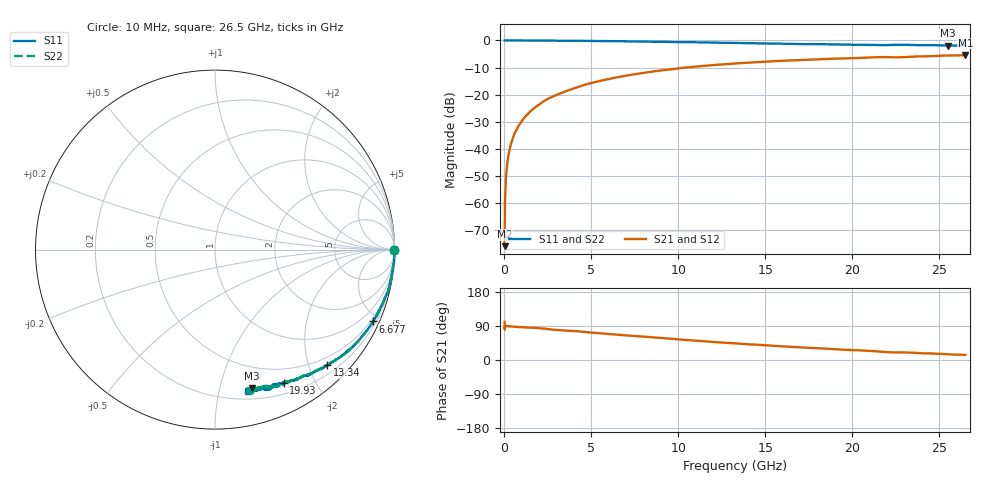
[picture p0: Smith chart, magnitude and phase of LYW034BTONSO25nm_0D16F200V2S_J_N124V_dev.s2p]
!Keysight Technologies,N5222B,MY61253708,A.15.00.15
!Date: Wednesday, June 19, 2024 09:53:12
!Correction: S11(C  2-Port  )
!S21(C  2-Port  )
!S12(C  2-Port  )
!S22(C  2-Port  )
!S2P File: Measurements: S11, S21, S12, S22:
# Hz S  RI  R 50
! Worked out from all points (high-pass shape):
!   2651 points, 10 MHz to 26.5 GHz, reference 50 ohm
!   highest |S21| = -5.39 dB at 26.5 GHz (marker M1); lowest = -75.9 dB at 10 MHz (marker M2)
!   |S21| within 3 dB of the highest: 13.4621 GHz to 13.47934 GHz (17.24 MHz wide, 0.128 % of centre); 13.52 GHz to end of sweep
!   lowest |S11| = -1.9 dB at 25.5 GHz (marker M3), VSWR 8.99, Z = 14.6 - j62.8 ohm
!   |S11| at or under -10 dB: nowhere
!   |S22| runs from -1.9 to 0.0 dB; largest |S21 - S12| = 0.0062
!   S11 on the Smith chart (normalised r, x): 10 MHz: open; 6.677 GHz: 0.37, -4.59; 13.34 GHz: 0.35, -2.32; 19.93 GHz: 0.32, -1.59; 26.5 GHz: 0.27, -1.23
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1e7  0.9988 -0.00285  -2.89e-05 0.000158  0.000148 -7.01e-05  0.9988 -0.00148
7.997358e7  0.9999 -0.00569  1.6e-05 0.00266  3.53e-05 0.00266  0.9994 -0.00523
1.499472e8  1 -0.0108  2.98e-05 0.00498  2.63e-05 0.005  0.9996 -0.0102
1.799358e8  1 -0.012  6.06e-05 0.00593  6.55e-05 0.00601  0.9996 -0.0115
2.29917e8  0.9996 -0.0158  0.000106 0.0076  0.000129 0.00764  0.9993 -0.0151
3.19883e8  0.9997 -0.0214  0.000218 0.0106  0.000211 0.0107  0.9995 -0.0206
4.49834e8  0.999 -0.0305  0.000423 0.0148  0.000488 0.0149  0.999 -0.0297
5.997774e8  0.9987 -0.0398  0.000785 0.0198  0.000783 0.0199  0.999 -0.0395
7.897057e8  0.9983 -0.0526  0.00133 0.0259  0.00135 0.0261  0.9977 -0.0521
1.419468e9  0.9907 -0.0957  0.00324 0.0465  0.00332 0.0467  0.9935 -0.0926
2.279143e9  0.9833 -0.148  0.00922 0.0754  0.00946 0.076  0.9845 -0.1486
3.118826e9  0.9726 -0.2008  0.0199 0.1009  0.0201 0.1014  0.9723 -0.2005
4.428332e9  0.9432 -0.2794  0.0381 0.141  0.0385 0.1418  0.9445 -0.2772
6.677483e9  0.8807 -0.4001  0.0872 0.1965  0.0883 0.1973  0.8821 -0.4001
8.846664e9  0.8047 -0.5006  0.1441 0.2361  0.1456 0.2367  0.8054 -0.4998
1.3255e10  0.6295 -0.641  0.271 0.2607  0.2732 0.2604  0.632 -0.6401
1.334497e10  0.6246 -0.645  0.2741 0.2602  0.2754 0.2599  0.6273 -0.6422
1.767333e10  0.4583 -0.721  0.3773 0.2335  0.3805 0.2317  0.467 -0.7188
1.993248e10  0.3831 -0.7438  0.4218 0.2093  0.4237 0.2065  0.3954 -0.74
2.209166e10  0.323 -0.7547  0.4601 0.1718  0.4617 0.1686  0.3154 -0.7605
2.550038e10  0.2041 -0.7733  0.5095 0.1356  0.5107 0.1348  0.223 -0.7753
2.65e10  0.1845 -0.787  0.5229 0.1242  0.5223 0.1202  0.1967 -0.7849
